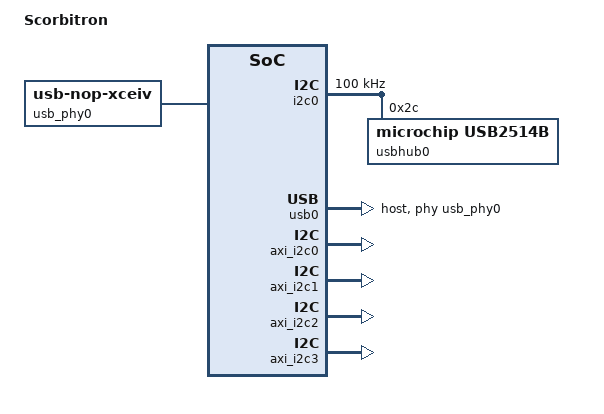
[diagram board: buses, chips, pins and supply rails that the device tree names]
/**
 * Copyright (c) 2016 krtkl inc.
 *
 * Scorbitron snickerdoodle black device tree source
 *
 * This program is free software; you can redistribute it and/or modify it
 * under the terms of the GNU General Public License version 2 as published by
 * the Free Software Foundation.
 */

/dts-v1/;
/include/ "snickerdoodle-black.dtsi"

/ {
	model = "Scorbitron";

	reserved-memory {
		#address-cells = <1>;
		#size-cells = <1>;
		ranges;

		wr_mem: reserved@30000000 {
			reg = <0x30000000 0x8000000>;
		};

		rd_mem: reserved@38000000 {
			reg = <0x38000000 0x8000000>;
		};
	};

	usb_phy0: phy0 {
		compatible = "usb-nop-xceiv";
		#phy-cells = <0>;
	};
};

&i2c0 {
	status = "okay";
	clock-frequency = <100000>;

	usbhub0: usb2514b@2c {
		compatible = "microchip,usb2514b";
		reg = <0x2c>;
	};
};

&usb0 {
	status = "okay";
	dr_mode = "host";
	usb-phy = <&usb_phy0>;
};

&amba {
	axi_dma: dma@40400000 {
		reg = <0x40400000 0x10000>;
		compatible = "krtkl,generic-uio,ui_pdrv";
		interrupt-parent = <&intc>;
		interrupts = <0 59 4>;
	};

	dma_mm2s: mm2s-channel@38000000 {
		reg = <0x38000000 0x8000000>;
		compatible = "krtkl,generic-uio,ui_pdrv";
		interrupt-parent = <&intc>;
		interrupts = <0 29 4>;
	};

	dma_s2mm: s2mm-channel@30000000 {
		reg = <0x30000000 0x8000000>;
		compatible = "krtkl,generic-uio,ui_pdrv";
		interrupt-parent = <&intc>;
		interrupts = <0 30 4>;
	};

	axi_i2c0: i2c@41600000 {
		reg = <0x41600000 0x10000>;
		compatible = "xlnx,xps-iic-2.00.a";
		clocks = <&clkc 15>;
		interrupt-parent = <&intc>;
		interrupts = <0 31 4>;
	};

	axi_i2c1: i2c@41610000 {
		reg = <0x41610000 0x10000>;
		compatible = "xlnx,xps-iic-2.00.a";
		clocks = <&clkc 15>;
		interrupt-parent = <&intc>;
		interrupts = <0 32 4>;
	};

	axi_i2c2: i2c@41620000 {
		reg = <0x41620000 0x10000>;
		compatible = "xlnx,xps-iic-2.00.a";
		clocks = <&clkc 15>;
		interrupt-parent = <&intc>;
		interrupts = <0 33 4>;
	};

	axi_i2c3: i2c@41630000 {
		reg = <0x41630000 0x10000>;
		compatible = "xlnx,xps-iic-2.00.a";
		clocks = <&clkc 15>;
		interrupt-parent = <&intc>;
		interrupts = <0 34 4>;
	};

	gpio_io: gpio@41200000 {
		reg = <0x41200000 0x10000>;
		compatible = "xlnx,xps-gpio-1.00.a";
		gpio-controller;
		xlnx,gpio-width = <16>;
		xlnx,all-inputs = <0>;
		xlnx,dout-default = <0x0>;
		xlnx,tri-default = <0xffffffff>;
		xlnx,is-dual = <1>;
		xlnx,gpio2-width = <16>;
		xlnx,all-inputs-2 = <0xffff>;
		xlnx,tri-default-2 = <0xffffffff>;
	};

	disp_io: gpio@41210000 {
		reg = <0x41210000 0x10000>;
		compatible = "xlnx,xps-gpio-1.00.a";
		gpio-controller;
		xlnx,gpio-width = <10>;
		xlnx,all-inputs = <0>;
		xlnx,dout-default = <0x0>;
		xlnx,tri-default = <0xffffffff>;
		xlnx,is-dual = <1>;
		xlnx,gpio2-width = <10>;
		xlnx,all-inputs-2 = <0x03ff>;
		xlnx,tri-default-2 = <0xffffffff>;
	};

	led_io: gpio@41220000 {
		reg = <0x41220000 0x10000>;
		compatible = "xlnx,xps-gpio-1.00.a";
		gpio-controller;
		xlnx,gpio-width = <6>;
		xlnx,all-inputs = <0>;
		xlnx,dout-default = <0x0>;
		xlnx,tri-default = <0xffffffff>;
		xlnx,is-dual = <0>;
	};

	rs485_io: gpio@41230000 {
		reg = <0x41230000 0x10000>;
		compatible = "xlnx,xps-gpio-1.00.a";
		gpio-controller;
		xlnx,gpio-width = <12>;
		xlnx,all-inputs = <0>;
		xlnx,dout-default = <0x0>;
		xlnx,tri-default = <0xffffffff>;
		xlnx,is-dual = <1>;
		xlnx,gpio2-width = <4>;
		xlnx,all-inputs-2 = <0xf>;
		xlnx,tri-default-2 = <0xffffffff>;
	};

	gpio4: gpio@41240000 {
		reg = <0x41240000 0x10000>;
		compatible = "xlnx,xps-gpio-1.00.a";
		gpio-controller;
		xlnx,gpio-width = <3>;
		xlnx,all-inputs = <0>;
		xlnx,tri-default = <0xffffffff>;
		xlnx,is-dual = <0>;
	};

	fpga_sd: gpio@41250000 {
		reg = <0x41250000 0x10000>;
		compatible = "xlnx,xps-gpio-1.00.a";
		gpio-controller;
		xlnx,gpio-width = <9>;
		xlnx,all-inputs = <0>;
		xlnx,tri-default = <0xffffffff>;
		xlnx,is-dual = <0>;
	};
};
